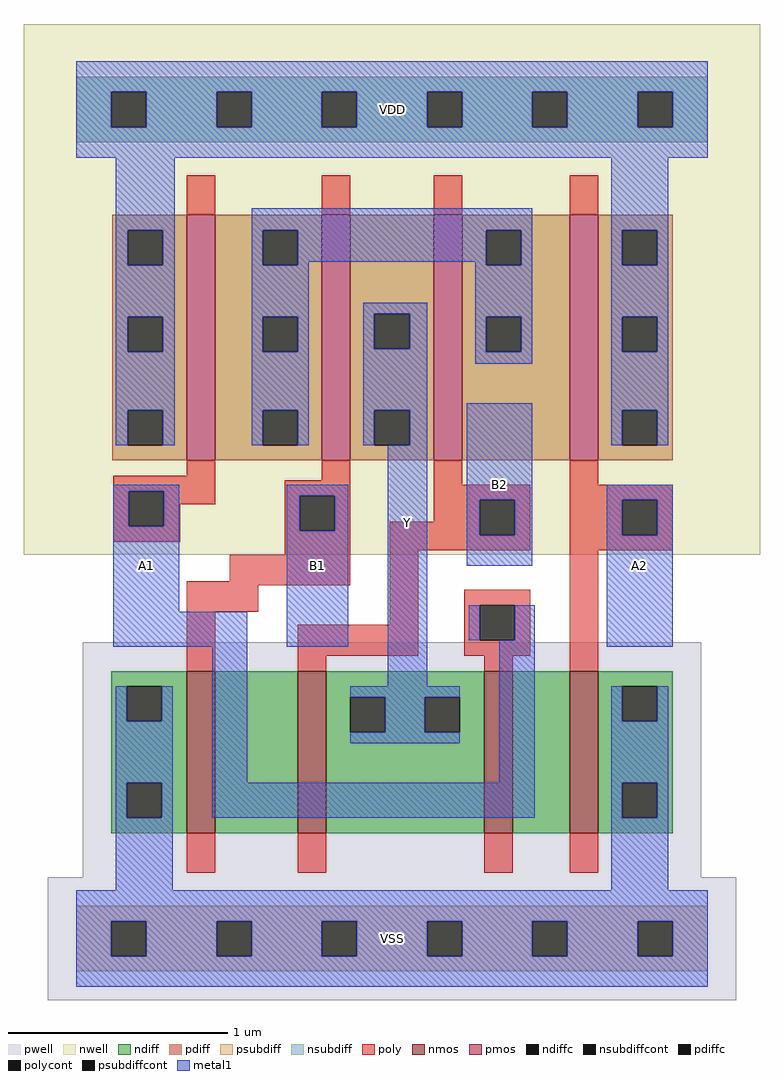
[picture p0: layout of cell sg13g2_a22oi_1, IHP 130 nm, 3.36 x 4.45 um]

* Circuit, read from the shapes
.subckt sg13g2_a22oi_1 Y A2 VDD B1 VSS A1 B2
XM1 n1 B1 VSS VSS sg13_lv_nmos w=0.74u l=0.13u
XM2 Y B2 n1 VSS sg13_lv_nmos w=0.74u l=0.13u
XM3 n2 A1 Y VSS sg13_lv_nmos w=0.74u l=0.13u
XM4 VSS A2 n2 VSS sg13_lv_nmos w=0.74u l=0.13u
XM5 n3 A1 VDD VDD sg13_lv_pmos w=1.12u l=0.13u
XM6 Y B1 n3 VDD sg13_lv_pmos w=1.12u l=0.13u
XM7 n3 B2 Y VDD sg13_lv_pmos w=1.12u l=0.13u
XM8 VDD A2 n3 VDD sg13_lv_pmos w=1.12u l=0.13u
.ends

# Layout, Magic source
magic
tech ihp-sg13g2
magscale 1 2
<< nwell >>
rect -48 350 624 834
<< pwell >>
rect 6 56 570 270
rect -26 -56 602 56
<< nmos >>
rect 101 96 127 244
rect 202 96 228 244
rect 372 96 398 244
rect 450 96 476 244
<< pmos >>
rect 101 436 127 660
rect 224 436 250 660
rect 326 436 352 660
rect 450 436 476 660
<< ndiff >>
rect 32 230 101 244
rect 32 198 46 230
rect 78 198 101 230
rect 32 142 101 198
rect 32 110 46 142
rect 78 110 101 142
rect 32 96 101 110
rect 127 96 202 244
rect 228 220 372 244
rect 228 188 250 220
rect 282 188 318 220
rect 350 188 372 220
rect 228 96 372 188
rect 398 96 450 244
rect 476 230 544 244
rect 476 198 498 230
rect 530 198 544 230
rect 476 142 544 198
rect 476 110 498 142
rect 530 110 544 142
rect 476 96 544 110
<< pdiff >>
rect 33 646 101 660
rect 33 614 47 646
rect 79 614 101 646
rect 33 567 101 614
rect 33 535 47 567
rect 79 535 101 567
rect 33 482 101 535
rect 33 450 47 482
rect 79 450 101 482
rect 33 436 101 450
rect 127 646 224 660
rect 127 614 170 646
rect 202 614 224 646
rect 127 567 224 614
rect 127 535 170 567
rect 202 535 224 567
rect 127 482 224 535
rect 127 450 170 482
rect 202 450 224 482
rect 127 436 224 450
rect 250 570 326 660
rect 250 538 272 570
rect 304 538 326 570
rect 250 482 326 538
rect 250 450 272 482
rect 304 450 326 482
rect 250 436 326 450
rect 352 646 450 660
rect 352 614 374 646
rect 406 614 450 646
rect 352 567 450 614
rect 352 535 374 567
rect 406 535 450 567
rect 352 436 450 535
rect 476 646 544 660
rect 476 614 498 646
rect 530 614 544 646
rect 476 567 544 614
rect 476 535 498 567
rect 530 535 544 567
rect 476 482 544 535
rect 476 450 498 482
rect 530 450 544 482
rect 476 436 544 450
<< ndiffc >>
rect 46 198 78 230
rect 46 110 78 142
rect 250 188 282 220
rect 318 188 350 220
rect 498 198 530 230
rect 498 110 530 142
<< pdiffc >>
rect 47 614 79 646
rect 47 535 79 567
rect 47 450 79 482
rect 170 614 202 646
rect 170 535 202 567
rect 170 450 202 482
rect 272 538 304 570
rect 272 450 304 482
rect 374 614 406 646
rect 374 535 406 567
rect 498 614 530 646
rect 498 535 530 567
rect 498 450 530 482
<< psubdiff >>
rect 0 16 576 30
rect 0 -16 32 16
rect 64 -16 128 16
rect 160 -16 224 16
rect 256 -16 320 16
rect 352 -16 416 16
rect 448 -16 512 16
rect 544 -16 576 16
rect 0 -30 576 -16
<< nsubdiff >>
rect 0 772 576 786
rect 0 740 32 772
rect 64 740 128 772
rect 160 740 224 772
rect 256 740 320 772
rect 352 740 416 772
rect 448 740 512 772
rect 544 740 576 772
rect 0 726 576 740
<< psubdiffcont >>
rect 32 -16 64 16
rect 128 -16 160 16
rect 224 -16 256 16
rect 320 -16 352 16
rect 416 -16 448 16
rect 512 -16 544 16
<< nsubdiffcont >>
rect 32 740 64 772
rect 128 740 160 772
rect 224 740 256 772
rect 320 740 352 772
rect 416 740 448 772
rect 512 740 544 772
<< poly >>
rect 101 660 127 696
rect 224 660 250 696
rect 326 660 352 696
rect 450 660 476 696
rect 101 422 127 436
rect 34 408 127 422
rect 224 418 250 436
rect 34 376 48 408
rect 80 396 127 408
rect 190 404 250 418
rect 80 376 95 396
rect 34 362 95 376
rect 190 372 204 404
rect 236 372 250 404
rect 326 414 352 436
rect 450 414 476 436
rect 326 400 414 414
rect 326 380 368 400
rect 190 350 250 372
rect 140 326 250 350
rect 101 322 250 326
rect 286 368 368 380
rect 400 368 414 400
rect 286 354 414 368
rect 450 400 544 414
rect 450 368 498 400
rect 530 368 544 400
rect 450 354 544 368
rect 101 298 166 322
rect 101 244 127 298
rect 286 286 312 354
rect 202 258 312 286
rect 354 304 414 318
rect 354 272 368 304
rect 400 272 414 304
rect 354 258 414 272
rect 202 244 228 258
rect 372 244 398 258
rect 450 244 476 354
rect 101 60 127 96
rect 202 60 228 96
rect 372 60 398 96
rect 450 60 476 96
<< polycont >>
rect 48 376 80 408
rect 204 372 236 404
rect 368 368 400 400
rect 498 368 530 400
rect 368 272 400 304
<< metal1 >>
rect 0 772 576 800
rect 0 740 32 772
rect 64 740 128 772
rect 160 740 224 772
rect 256 740 320 772
rect 352 740 416 772
rect 448 740 512 772
rect 544 740 576 772
rect 0 712 576 740
rect 36 646 90 712
rect 36 614 47 646
rect 79 614 90 646
rect 36 567 90 614
rect 36 535 47 567
rect 79 535 90 567
rect 36 482 90 535
rect 36 450 47 482
rect 79 450 90 482
rect 160 646 416 666
rect 160 614 170 646
rect 202 617 374 646
rect 202 614 212 617
rect 160 567 212 614
rect 364 614 374 617
rect 406 614 416 646
rect 160 535 170 567
rect 202 535 212 567
rect 160 482 212 535
rect 160 450 170 482
rect 202 450 212 482
rect 262 570 320 580
rect 262 538 272 570
rect 304 538 320 570
rect 262 482 320 538
rect 364 567 416 614
rect 364 535 374 567
rect 406 535 416 567
rect 364 524 416 535
rect 488 646 540 712
rect 488 614 498 646
rect 530 614 540 646
rect 488 567 540 614
rect 488 535 498 567
rect 530 535 540 567
rect 262 450 272 482
rect 304 450 320 482
rect 34 408 94 414
rect 34 376 48 408
rect 80 376 94 408
rect 34 298 94 376
rect 192 404 248 414
rect 192 372 204 404
rect 236 372 248 404
rect 34 266 156 298
rect 192 266 248 372
rect 36 198 46 230
rect 78 198 88 230
rect 36 142 88 198
rect 36 110 46 142
rect 78 110 88 142
rect 124 142 156 266
rect 284 230 320 450
rect 356 400 416 488
rect 488 482 540 535
rect 488 450 498 482
rect 530 450 540 482
rect 356 368 368 400
rect 400 368 416 400
rect 356 340 416 368
rect 484 400 544 414
rect 484 368 498 400
rect 530 368 544 400
rect 358 272 368 304
rect 400 272 418 304
rect 250 220 350 230
rect 282 188 318 220
rect 250 178 350 188
rect 386 142 418 272
rect 484 266 544 368
rect 124 110 418 142
rect 488 198 498 230
rect 530 198 540 230
rect 488 142 540 198
rect 488 110 498 142
rect 530 110 540 142
rect 36 44 88 110
rect 488 44 540 110
rect 0 16 576 44
rect 0 -16 32 16
rect 64 -16 128 16
rect 160 -16 224 16
rect 256 -16 320 16
rect 352 -16 416 16
rect 448 -16 512 16
rect 544 -16 576 16
rect 0 -44 576 -16
<< labels >>
flabel metal1 s 284 178 320 580 0 FreeSans 400 0 0 0 Y
port 2 nsew
flabel metal1 s 484 266 544 414 0 FreeSans 400 0 0 0 A2
port 3 nsew
flabel metal1 s 0 712 576 800 0 FreeSans 400 0 0 0 VDD
port 4 nsew
flabel metal1 s 192 266 248 414 0 FreeSans 400 0 0 0 B1
port 5 nsew
flabel metal1 s 0 -44 576 44 0 FreeSans 400 0 0 0 VSS
port 6 nsew
flabel metal1 s 34 266 94 414 0 FreeSans 400 0 0 0 A1
port 7 nsew
flabel metal1 s 356 340 416 488 0 FreeSans 400 0 0 0 B2
port 8 nsew
<< properties >>
string FIXED_BBOX 0 0 576 756
string GDS_END 133498
string GDS_FILE ../gds/controller.gds
string GDS_START 128392
<< end >>
